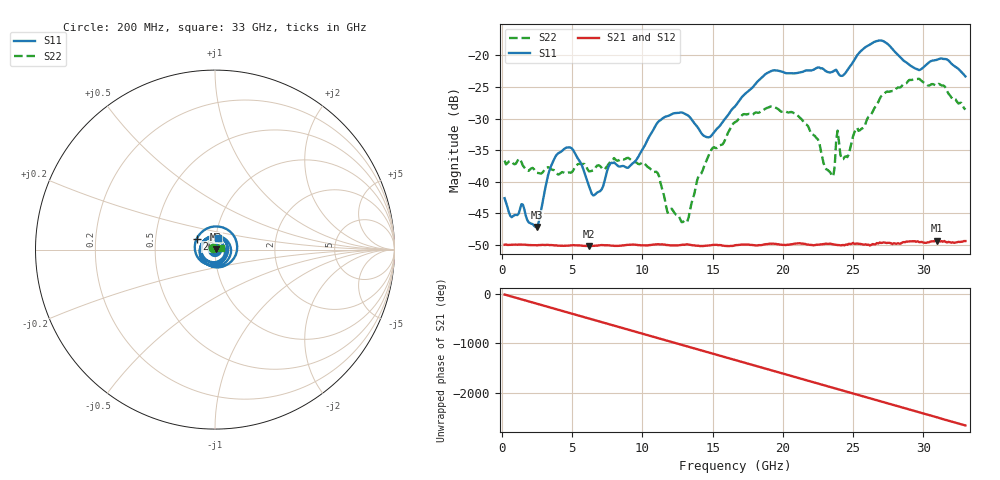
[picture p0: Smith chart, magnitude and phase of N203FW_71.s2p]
# GHZ S RI R 50
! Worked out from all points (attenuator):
!   329 points, 200 MHz to 33 GHz, reference 50 ohm
!   highest |S21| = -49.31 dB at 31 GHz (marker M1); lowest = -50.2 dB at 6.2 GHz (marker M2)
!   lowest |S11| = -47.1 dB at 2.5 GHz (marker M3), VSWR 1.01, Z = 50.4 + j0.22 ohm
!   |S11| at or under -10 dB: start of sweep to end of sweep
!   |S22| runs from -46.4 to -23.7 dB; largest |S21 - S12| = 8.8e-05
!   S11 on the Smith chart (normalised r, x): 200 MHz: 1.01, +0.01; 26 GHz: 0.81, +0.10; 33 GHz: 1.03, +0.14
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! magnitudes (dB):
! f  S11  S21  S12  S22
! 200 MHz  -42.6  -50.0  -49.9  -36.7
! 2.5 GHz  -47.1  -50.1  -50.0  -38.6
! 3.9 GHz  -35.7  -50.1  -50.1  -38.6
! 4.9 GHz  -34.6  -50.1  -50.1  -38.6
! 5.7 GHz  -37.4  -50.1  -50.1  -37.2
! 6.2 GHz  -40.6  -50.2  -50.2  -38.3
! 9.4 GHz  -36.9  -49.9  -49.9  -36.8
! 11.2 GHz  -30.4  -49.9  -49.9  -39.2
! 11.8 GHz  -29.6  -50.0  -50.0  -44.9
! 13.2 GHz  -29.4  -49.9  -49.9  -46.3
! 14.7 GHz  -33.0  -50.1  -50.1  -36.0
! 16.6 GHz  -28.1  -50.0  -50.1  -30.6
! 19.3 GHz  -22.4  -49.8  -49.8  -28.1
! 22.1 GHz  -22.3  -50.0  -50.0  -32.5
! 23.6 GHz  -22.5  -49.9  -49.9  -39.1
! 23.9 GHz  -22.6  -50.0  -50.0  -31.9
! 24.3 GHz  -23.2  -50.0  -50.0  -36.4
! 26 GHz  -18.5  -50.0  -49.9  -30.1
! 27.6 GHz  -18.5  -49.7  -49.7  -25.7
! 29.7 GHz  -22.3  -49.5  -49.6  -23.7
! 31 GHz  -20.7  -49.3  -49.3  -24.7
! 33 GHz  -23.3  -49.4  -49.4  -28.6
